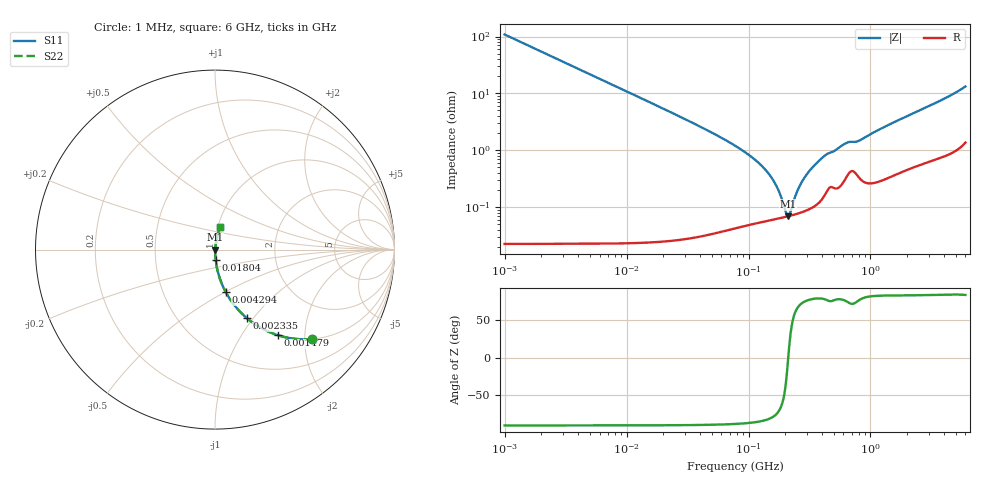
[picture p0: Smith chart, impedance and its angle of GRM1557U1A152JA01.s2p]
!Murata Part Number: GRM1557U1A152JA01
!These Parameters are Measured in Series Mode Connection
!Data Generated on Mar 30, 2021
!  o--ll--o
!Port1  Port2
!  o------o
!Operation Temp=25[degC], DC Bias Voltage=0[V]
!Freq. Start=1000[kHz] Stop=6[GHz] 401[Steps]
# Hz S RI R 50
!Freq.(Hz) S11(Real) S11(Imag) S21(Real) S21(Imag) S12(Real) S12(Imag) S22(Real) S22(Imag)
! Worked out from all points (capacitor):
!   401 points, 1 MHz to 6 GHz, reference 50 ohm
!   read as one part in series: C = 1.47 nF near 1.044 MHz
!   lowest |Z| = 68.7 mohm at 210.7 MHz (marker M1)
!   series resonance near 211.6 MHz, so ESL is about 390 pH
!   S11 on the Smith chart (normalised r, x): 1 MHz: 1.00, -2.17; 1.479 MHz: 1.00, -1.47; 2.335 MHz: 1.00, -0.93; 4.294 MHz: 1.00, -0.51; 18.04 MHz: 1.00, -0.12; 6 GHz: 1.03, +0.26
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1000000  0.541 -0.4982  0.459 0.4982  0.459 0.4982  0.541 -0.4982
1479166  0.3502 -0.4769  0.6498 0.4769  0.6498 0.4769  0.3502 -0.4769
2335446  0.1778 -0.3821  0.8222 0.3821  0.8222 0.3821  0.1778 -0.3821
4293785  0.0602 -0.2375  0.9398 0.2375  0.9398 0.2375  0.0602 -0.2375
8245209  0.0172 -0.1292  0.9828 0.1292  0.9828 0.1292  0.0172 -0.1292
1.803995e7  0.00379 -0.0594  0.9962 0.0594  0.9962 0.0594  0.00379 -0.0594
1.843659e7  0.00364 -0.0582  0.9964 0.0582  0.9964 0.0582  0.00364 -0.0582
7.745967e7  0.000564 -0.012  0.9994 0.012  0.9994 0.012  0.000564 -0.012
1.121107e8  0.000555 -0.00686  0.9994 0.00686  0.9994 0.00686  0.000555 -0.00686
1.455431e8  0.000589 -0.00386  0.9994 0.00386  0.9994 0.00386  0.000589 -0.00386
1.694764e8  0.000621 -0.00226  0.9994 0.00226  0.9994 0.00226  0.000621 -0.00226
2.016844e8  0.00067 -0.000483  0.9993 0.000483  0.9993 0.000483  0.00067 -0.000483
2.106508e8  0.000686 -4.37e-05  0.9993 4.37e-05  0.9993 4.37e-05  0.000686 -4.37e-05
2.200158e8  0.000702 0.000396  0.9993 -0.000396  0.9993 -0.000396  0.000702 0.000396
2.452905e8  0.000751 0.0015  0.9992 -0.0015  0.9992 -0.0015  0.000751 0.0015
2.675853e8  0.0008 0.00241  0.9992 -0.00241  0.9992 -0.00241  0.0008 0.00241
3.325952e8  0.000994 0.00481  0.999 -0.00481  0.999 -0.00481  0.000994 0.00481
4.224887e8  0.00168 0.00783  0.9983 -0.00783  0.9983 -0.00783  0.00168 0.00783
6.11486e8  0.00307 0.0124  0.9969 -0.0124  0.9969 -0.0124  0.00307 0.0124
8.112906e8  0.00343 0.0143  0.9966 -0.0143  0.9966 -0.0143  0.00343 0.0143
1.428092e9  0.00408 0.0279  0.9959 -0.0279  0.9959 -0.0279  0.00408 0.0279
6e9  0.0297 0.1257  0.9703 -0.1257  0.9703 -0.1257  0.0297 0.1257
